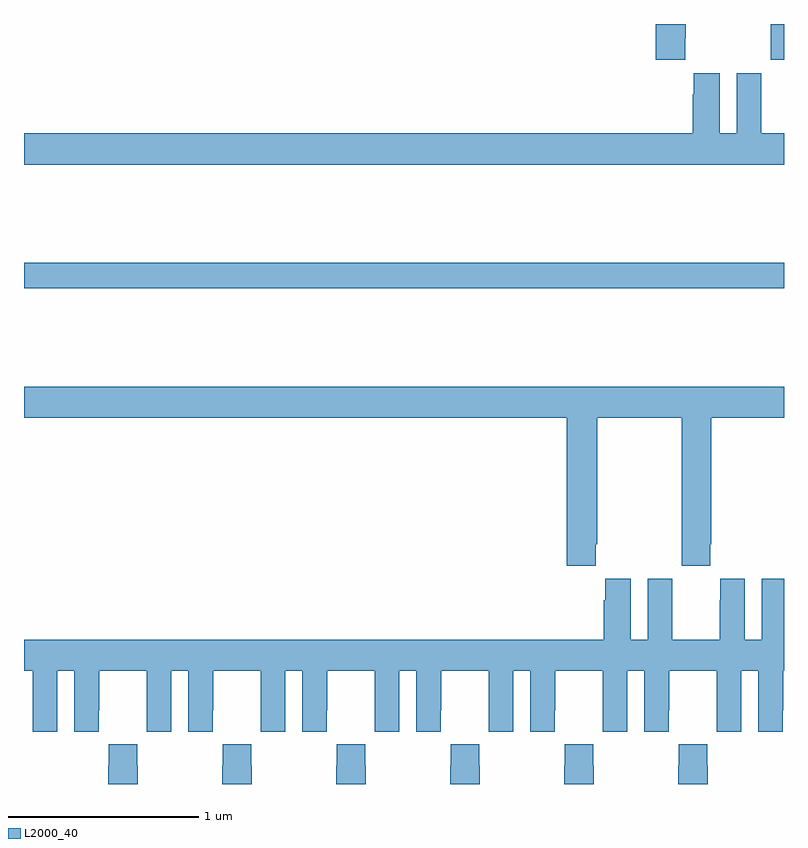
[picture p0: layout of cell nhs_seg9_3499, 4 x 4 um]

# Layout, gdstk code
import gdstk
lib = gdstk.Library(unit=1e-6, precision=1e-09)
def R(c, l, rs):  # rectangles x0, y0, x1, y1
    for r in rs: c.add(gdstk.rectangle(r[:2], r[2:], *l))
def P(c, l, *ps):  # polygons
    for p in ps: c.add(gdstk.Polygon(p, *l))
L2000_40 = (2000, 40)

nhs_seg9_3499 = lib.new_cell('nhs_seg9_3499')
R(nhs_seg9_3499, L2000_40, [(311,1189.108,315,1189.244), (314.929,1190.313,315,1190.5)])
P(nhs_seg9_3499, L2000_40, [(314.479,1190.425),(314.484,1190.425),(314.484,1190.5),(314.324,1190.5),(314.324,1190.313),(314.479,1190.313)],
  [(315,1189.924),(314.881,1189.924),(314.881,1190.242),(314.75,1190.242),(314.75,1189.924),(314.662,1189.924),(314.662,1190.242),(314.525,1190.242),(314.525,1190.129),(314.519,1190.129),(314.519,1189.924),(311,1189.924),(311,1189.76),(315,1189.76)],
  [(314.009,1187.761),(314.016,1187.761),(314.016,1188.428),(314.461,1188.428),(314.461,1187.761),(314.463,1187.761),(314.463,1187.649),(314.613,1187.649),(314.613,1187.761),(314.616,1187.761),(314.616,1188.428),(315,1188.428),(315,1188.592),(311,1188.592),(311,1188.428),(313.856,1188.428),(313.856,1187.649),(314.009,1187.649)],
  [(311.176,1187.096),(311.264,1187.096),(311.264,1186.776),(311.394,1186.776),(311.394,1186.888),(311.395,1186.888),(311.395,1187.096),(311.645,1187.096),(311.645,1186.888),(311.646,1186.888),(311.646,1186.776),(311.776,1186.776),(311.776,1187.096),(311.864,1187.096),(311.864,1186.776),(311.994,1186.776),(311.994,1186.888),(311.995,1186.888),(311.995,1187.096),(312.245,1187.096),(312.245,1186.888),(312.246,1186.888),(312.246,1186.776),(312.376,1186.776),(312.376,1187.096),(312.464,1187.096),(312.464,1186.776),(312.594,1186.776),(312.594,1186.888),(312.595,1186.888),(312.595,1187.096),(312.845,1187.096),(312.845,1186.888),(312.846,1186.888),(312.846,1186.776),(312.976,1186.776),(312.976,1187.096),(313.064,1187.096),(313.064,1186.776),(313.194,1186.776),(313.194,1186.888),(313.195,1186.888),(313.195,1187.096),(313.445,1187.096),(313.445,1186.888),(313.446,1186.888),(313.446,1186.776),(313.576,1186.776),(313.576,1187.096),(313.664,1187.096),(313.664,1186.776),(313.794,1186.776),(313.794,1186.888),(313.795,1186.888),(313.795,1187.096),(314.045,1187.096),(314.045,1186.888),(314.046,1186.888),(314.046,1186.776),(314.176,1186.776),(314.176,1187.096),(314.264,1187.096),(314.264,1186.776),(314.394,1186.776),(314.394,1186.888),(314.395,1186.888),(314.395,1187.096),(314.645,1187.096),(314.645,1186.888),(314.646,1186.888),(314.646,1186.776),(314.776,1186.776),(314.776,1187.096),(314.864,1187.096),(314.864,1186.776),(314.994,1186.776),(314.994,1186.888),(314.995,1186.888),(314.995,1187.096),(315,1187.096),(315,1187.581),(314.882,1187.581),(314.882,1187.26),(314.794,1187.26),(314.794,1187.581),(314.664,1187.581),(314.664,1187.468),(314.663,1187.468),(314.663,1187.26),(314.413,1187.26),(314.413,1187.468),(314.412,1187.468),(314.412,1187.581),(314.282,1187.581),(314.282,1187.26),(314.194,1187.26),(314.194,1187.581),(314.06,1187.581),(314.06,1187.468),(314.051,1187.468),(314.051,1187.26),(311,1187.26),(311,1187.096),(311.045,1187.096),(311.045,1186.888),(311.046,1186.888),(311.046,1186.776),(311.176,1186.776)],
  [(313.998,1186.595),(313.995,1186.595),(313.995,1186.708),(313.845,1186.708),(313.845,1186.595),(313.843,1186.595),(313.843,1186.5),(313.998,1186.5)],
  [(311.598,1186.595),(311.595,1186.595),(311.595,1186.708),(311.445,1186.708),(311.445,1186.595),(311.443,1186.595),(311.443,1186.5),(311.598,1186.5)],
  [(313.398,1186.595),(313.395,1186.595),(313.395,1186.708),(313.245,1186.708),(313.245,1186.595),(313.243,1186.595),(313.243,1186.5),(313.398,1186.5)],
  [(312.798,1186.595),(312.795,1186.595),(312.795,1186.708),(312.645,1186.708),(312.645,1186.595),(312.643,1186.595),(312.643,1186.5),(312.798,1186.5)],
  [(312.198,1186.595),(312.195,1186.595),(312.195,1186.708),(312.045,1186.708),(312.045,1186.595),(312.043,1186.595),(312.043,1186.5),(312.198,1186.5)],
  [(314.598,1186.595),(314.595,1186.595),(314.595,1186.708),(314.445,1186.708),(314.445,1186.595),(314.443,1186.595),(314.443,1186.5),(314.598,1186.5)])

lib.write_gds('nhs_seg9_3499.gds')
